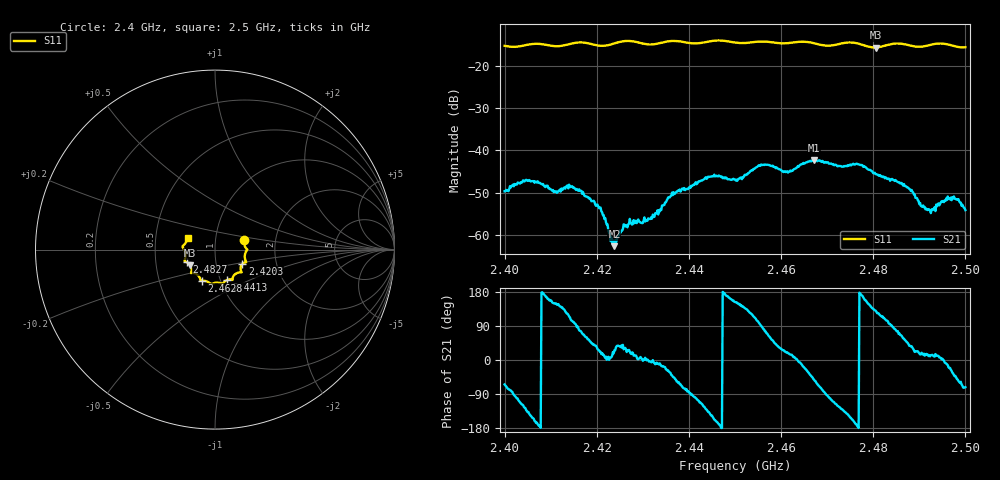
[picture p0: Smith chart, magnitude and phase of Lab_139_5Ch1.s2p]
# Hz S RI R 50
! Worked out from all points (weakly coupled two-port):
!   601 points, 2.4 GHz to 2.5 GHz, reference 50 ohm
!   highest |S21| = -42.27 dB at 2.4672 GHz (marker M1); lowest = -62.6 dB at 2.4238 GHz (marker M2)
!   lowest |S11| = -15.7 dB at 2.4805 GHz (marker M3), VSWR 1.39, Z = 37.3 - j6.65 ohm
!   |S11| at or under -10 dB: start of sweep to end of sweep
!   S12 and S22 are empty: the file has one direction only
!   S11 on the Smith chart (normalised r, x): 2.4 GHz: 1.38, +0.15; 2.4203 GHz: 1.34, -0.22; 2.4413 GHz: 1.08, -0.38; 2.4628 GHz: 0.82, -0.29; 2.4827 GHz: 0.72, -0.11; 2.5 GHz: 0.73, +0.10
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2.4e9  0.1626 0.0526  0.00142 -0.00297  0 0  0 0
2.405e9  0.176 0.0039  -0.00323 -0.00295  0 0  0 0
2.416667e9  0.1738 -0.0697  0.000919 0.00321  0 0  0 0
2.420333e9  0.1526 -0.08  0.00194 0.000978  0 0  0 0
2.423833e9  0.1434 -0.1132  0.000669 0.000324  0 0  0 0
2.426333e9  0.1487 -0.1259  0.00116 0.000636  0 0  0 0
2.433333e9  0.1002 -0.1518  0.00173 -0.000303  0 0  0 0
2.436167e9  0.0976 -0.1683  0.00226 -0.00186  0 0  0 0
2.441333e9  0.0674 -0.1693  -0.000594 -0.00402  0 0  0 0
2.445e9  0.0438 -0.19  -0.00411 -0.00272  0 0  0 0
2.45e9  0.0244 -0.1853  -0.00404 0.00206  0 0  0 0
2.455667e9  -0.0191 -0.1911  -1.99e-06 0.00683  0 0  0 0
2.462833e9  -0.0716 -0.1737  0.00596 0.000863  0 0  0 0
2.466667e9  -0.0812 -0.1673  0.00538 -0.00521  0 0  0 0
2.467167e9  -0.082 -0.1639  0.00471 -0.00608  0 0  0 0
2.4805e9  -0.1382 -0.0867  -0.00339 0.00401  0 0  0 0
2.482667e9  -0.1572 -0.0706  -0.00137 0.00462  0 0  0 0
2.483333e9  -0.1625 -0.0683  -0.000567 0.00462  0 0  0 0
2.487167e9  -0.1677 -0.0552  0.00247 0.00284  0 0  0 0
2.492e9  -0.1731 0.00165  0.002 0.000366  0 0  0 0
2.497e9  -0.1706 0.0287  0.00228 -0.00122  0 0  0 0
2.5e9  -0.1518 0.064  0.00062 -0.00188  0 0  0 0
